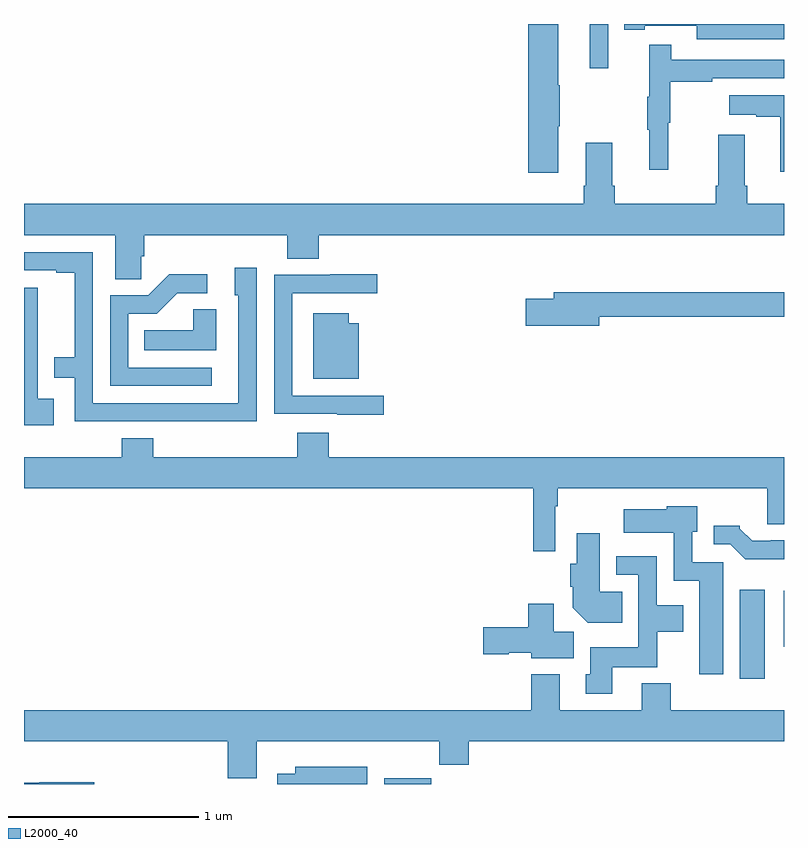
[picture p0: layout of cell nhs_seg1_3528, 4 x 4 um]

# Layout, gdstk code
import gdstk
lib = gdstk.Library(unit=1e-6, precision=1e-09)
def R(c, l, rs):  # rectangles x0, y0, x1, y1
    for r in rs: c.add(gdstk.rectangle(r[:2], r[2:], *l))
def P(c, l, *ps):  # polygons
    for p in ps: c.add(gdstk.Polygon(p, *l))
L2000_40 = (2000, 40)

nhs_seg1_3528 = lib.new_cell('nhs_seg1_3528')
R(nhs_seg1_3528, L2000_40, [(304.895,526.199,305.144,526.23), (306.767,526.752,306.898,527.221), (306.998,526.922,307,527.215), (305.978,529.965,306.075,530.199)])
P(nhs_seg1_3528, L2000_40, [(307,530.199),(306.16,530.199),(306.16,530.17),(306.268,530.17),(306.268,530.19),(306.54,530.19),(306.54,530.118),(307,530.118)],
  [(305.812,529.66),(305.82,529.66),(305.82,529.877),(305.812,529.877),(305.812,530.199),(305.654,530.199),(305.654,529.416),(305.812,529.416)],
  [(306.392,529.68),(306.4,529.68),(306.4,529.894),(306.623,529.894),(306.623,529.914),(307,529.914),(307,530.01),(306.407,530.01),(306.407,530.089),(306.29,530.089),(306.29,529.817),(306.279,529.817),(306.279,529.643),(306.29,529.643),(306.29,529.431),(306.392,529.431)],
  [(307,529.825),(306.711,529.825),(306.711,529.721),(306.854,529.721),(306.854,529.711),(306.98,529.711),(306.98,529.422),(307,529.422)],
  [(303.617,528.976),(303.632,528.976),(303.632,529.088),(304.385,529.088),(304.385,528.964),(304.55,528.964),(304.55,529.088),(307,529.088),(307,529.252),(306.806,529.252),(306.806,529.348),(306.793,529.348),(306.793,529.615),(306.653,529.615),(306.653,529.348),(306.641,529.348),(306.641,529.252),(306.11,529.252),(306.11,529.348),(306.097,529.348),(306.097,529.573),(305.957,529.573),(305.957,529.348),(305.945,529.348),(305.945,529.252),(303,529.252),(303,529.088),(303.479,529.088),(303.479,528.856),(303.617,528.856)],
  [(304.224,528.916),(304.109,528.916),(304.109,528.771),(304.128,528.771),(304.128,528.204),(303.363,528.204),(303.363,528.999),(303,528.999),(303,528.903),(303.17,528.903),(303.17,528.891),(303.266,528.891),(303.266,528.445),(303.158,528.445),(303.158,528.336),(303.267,528.336),(303.267,528.108),(303.763,528.108),(303.763,528.107),(304.224,528.107)],
  [(304.894,528.243),(304.413,528.243),(304.413,528.783),(304.858,528.783),(304.858,528.883),(304.613,528.883),(304.613,528.879),(304.317,528.879),(304.317,528.147),(304.649,528.147),(304.649,528.143),(304.894,528.143)],
  [(303.988,528.39),(303.549,528.39),(303.549,528.675),(303.699,528.675),(303.807,528.783),(303.964,528.783),(303.964,528.881),(303.764,528.881),(303.654,528.771),(303.453,528.771),(303.453,528.294),(303.988,528.294)],
  [(303.157,528.226),(303.072,528.226),(303.072,528.322),(303.073,528.322),(303.073,528.81),(303,528.81),(303,528.086),(303.157,528.086)],
  [(306.028,528.658),(307,528.658),(307,528.787),(305.789,528.787),(305.789,528.753),(305.64,528.753),(305.64,528.611),(306.028,528.611)],
  [(304.012,528.698),(303.89,528.698),(303.89,528.586),(303.634,528.586),(303.634,528.482),(304.012,528.482)],
  [(304.762,528.625),(304.709,528.625),(304.709,528.676),(304.523,528.676),(304.523,528.332),(304.762,528.332)],
  [(305.796,527.66),(305.809,527.66),(305.809,527.756),(306.911,527.756),(306.911,527.566),(307,527.566),(307,527.92),(304.604,527.92),(304.604,528.049),(304.439,528.049),(304.439,527.92),(303.68,527.92),(303.68,528.019),(303.515,528.019),(303.515,527.92),(303,527.92),(303,527.756),(305.68,527.756),(305.68,527.424),(305.796,527.424)],
  [(306.679,527.367),(306.516,527.367),(306.516,527.526),(306.544,527.526),(306.544,527.662),(306.384,527.662),(306.384,527.644),(306.156,527.644),(306.156,527.522),(306.42,527.522),(306.42,527.27),(306.554,527.27),(306.554,526.776),(306.679,526.776)],
  [(307,527.481),(306.931,527.481),(306.931,527.478),(306.832,527.478),(306.768,527.542),(306.768,527.557),(306.629,527.557),(306.629,527.46),(306.717,527.46),(306.796,527.382),(307,527.382)],
  [(306.149,527.212),(306.031,527.212),(306.031,527.518),(305.909,527.518),(305.909,527.358),(305.876,527.358),(305.876,527.236),(305.888,527.236),(305.888,527.126),(305.966,527.048),(306.149,527.048)],
  [(306.097,526.814),(306.333,526.814),(306.333,527),(306.469,527),(306.469,527.14),(306.33,527.14),(306.33,527.397),(306.117,527.397),(306.117,527.301),(306.234,527.301),(306.234,526.918),(305.981,526.918),(305.981,526.776),(305.957,526.776),(305.957,526.674),(306.097,526.674)],
  [(305.893,527),(305.788,527),(305.788,527.149),(305.654,527.149),(305.654,527.024),(305.418,527.024),(305.418,526.882),(305.55,526.882),(305.55,526.889),(305.67,526.889),(305.67,526.862),(305.893,526.862)],
  [(303,526.424),(304.073,526.424),(304.073,526.23),(304.225,526.23),(304.225,526.424),(305.185,526.424),(305.185,526.3),(305.342,526.3),(305.342,526.424),(307,526.424),(307,526.588),(306.404,526.588),(306.404,526.729),(306.251,526.729),(306.251,526.588),(305.821,526.588),(305.821,526.777),(305.669,526.777),(305.669,526.588),(303,526.588)],
  [(304.807,526.291),(304.427,526.291),(304.427,526.252),(304.334,526.252),(304.334,526.199),(304.807,526.199)],
  [(303.371,526.208),(303.079,526.208),(303.079,526.206),(303,526.206),(303,526.199),(303.371,526.199)])

lib.write_gds('nhs_seg1_3528.gds')
